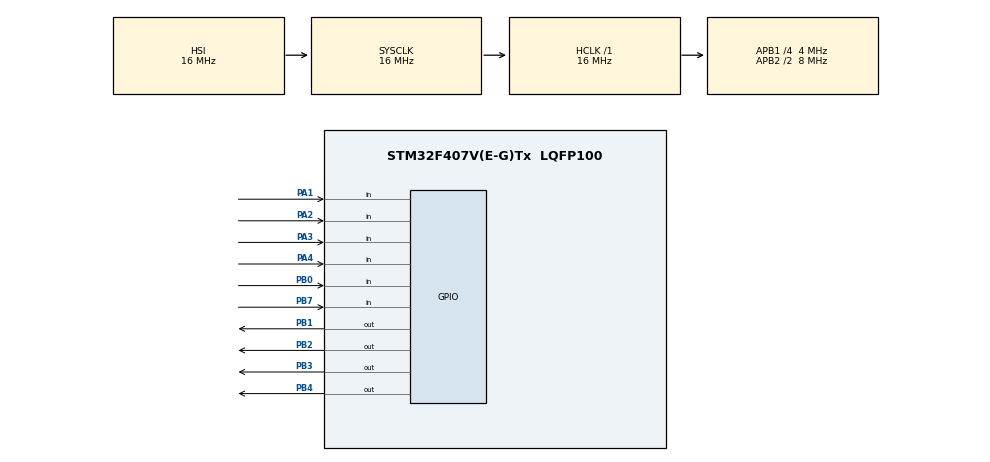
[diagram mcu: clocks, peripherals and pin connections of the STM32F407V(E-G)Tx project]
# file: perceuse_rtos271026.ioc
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FREERTOS.Tasks01=Arret_Urgence,2,128,vArret_Urgence_Task,Default,NULL,Dynamic,NULL,NULL;Descente,0,128,vDescente_Task,Default,NULL,Dynamic,NULL,NULL;Montee,0,128,vMontee_Task,Default,NULL,Dynamic,NULL,NULL
FREERTOS.configUSE_NEWLIB_REENTRANT=1
Mcu.Family=STM32F4
Mcu.Name=STM32F407V(E-G)Tx
Mcu.Package=LQFP100
NVIC.PriorityGroup=NVIC_PRIORITYGROUP_4
NVIC.TIM6_DAC_IRQn=true\:15\:0\:false\:false\:true\:false\:false\:true\:true
NVIC.TimeBase=TIM6_DAC_IRQn
NVIC.TimeBaseIP=TIM6
PA1.GPIO_PuPd=GPIO_PULLDOWN
PA1.Signal=GPIO_Input
PA13.Mode=Serial_Wire
PA13.Signal=SYS_JTMS-SWDIO
PA14.Mode=Serial_Wire
PA14.Signal=SYS_JTCK-SWCLK
PA2.GPIO_PuPd=GPIO_PULLDOWN
PA2.Signal=GPIO_Input
PA3.GPIO_PuPd=GPIO_PULLDOWN
PA3.Signal=GPIO_Input
PA4.GPIO_PuPd=GPIO_PULLDOWN
PA4.Signal=GPIO_Input
PB0.GPIO_PuPd=GPIO_PULLDOWN
PB0.Signal=GPIO_Input
PB1.Signal=GPIO_Output
PB2.Signal=GPIO_Output
PB3.Signal=GPIO_Output
PB4.Signal=GPIO_Output
PB7.GPIO_PuPd=GPIO_PULLDOWN
PB7.Signal=GPIO_Input
ProjectManager.HeapSize=0x200
ProjectManager.StackSize=0x400
ProjectManager.TargetToolchain=STM32CubeIDE
RCC.48MHZClocksFreq_Value=96000000
RCC.AHBFreq_Value=16000000
RCC.APB1CLKDivider=RCC_HCLK_DIV4
RCC.APB1Freq_Value=4000000
RCC.APB1TimFreq_Value=8000000
RCC.APB2CLKDivider=RCC_HCLK_DIV2
RCC.APB2Freq_Value=8000000
RCC.APB2TimFreq_Value=16000000
RCC.CortexFreq_Value=16000000
RCC.HCLKFreq_Value=16000000
RCC.HSE_VALUE=8000000
RCC.HSI_VALUE=16000000
RCC.LSE_VALUE=32768
RCC.PLLM=8
RCC.PLLN=336
RCC.PLLQ=7
RCC.SYSCLKFreq_VALUE=16000000
RCC.VCOOutputFreq_Value=672000000
VP_FREERTOS_VS_CMSIS_V1.Mode=CMSIS_V1
VP_SYS_VS_tim6.Mode=TIM6
board=STM32F407G-DISC1

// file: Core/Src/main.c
/* USER CODE BEGIN Header */
/**
  ******************************************************************************
  * @file           : main.c
  * @brief          : Main program body
  ******************************************************************************
  * @attention
  *
  * Copyright (c) 2026 STMicroelectronics.
  * All rights reserved.
  *
  * This software is licensed under terms that can be found in the LICENSE file
  * in the root directory of this software component.
  * If no LICENSE file comes with this software, it is provided AS-IS.
  *
  ******************************************************************************
  */
/* USER CODE END Header */
#include "main.h"
#include "cmsis_os.h"

osThreadId Arret_UrgenceHandle;
osThreadId DescenteHandle;
osThreadId MonteeHandle;
/* USER CODE BEGIN PV */
volatile uint8_t Urg_Flag = 0;
/* USER CODE END PV */

void SystemClock_Config(void);
static void MX_GPIO_Init(void);
void vArret_Urgence_Task(void const * argument);
void vDescente_Task(void const * argument);
void vMontee_Task(void const * argument);

int main(void)
{

  /* MCU Configuration--------------------------------------------------------*/

  /* Reset of all peripherals, Initializes the Flash interface and the Systick. */
  HAL_Init();

  /* Configure the system clock */
  SystemClock_Config();

  /* Initialize all configured peripherals */
  MX_GPIO_Init();

  /* Create the thread(s) */
  /* definition and creation of Arret_Urgence */
  osThreadDef(Arret_Urgence, vArret_Urgence_Task, osPriorityHigh, 0, 128);
  Arret_UrgenceHandle = osThreadCreate(osThread(Arret_Urgence), NULL);

  /* definition and creation of Descente */
  osThreadDef(Descente, vDescente_Task, osPriorityNormal, 0, 128);
  DescenteHandle = osThreadCreate(osThread(Descente), NULL);

  /* definition and creation of Montee */
  osThreadDef(Montee, vMontee_Task, osPriorityNormal, 0, 128);
  MonteeHandle = osThreadCreate(osThread(Montee), NULL);

  /* Start scheduler */
  osKernelStart();

  /* We should never get here as control is now taken by the scheduler */

  /* Infinite loop */
  while (1)
  {

  }
}

void SystemClock_Config(void)
{
  RCC_OscInitTypeDef RCC_OscInitStruct = {0};
  RCC_ClkInitTypeDef RCC_ClkInitStruct = {0};

  /** Configure the main internal regulator output voltage
  */
  __HAL_RCC_PWR_CLK_ENABLE();
  __HAL_PWR_VOLTAGESCALING_CONFIG(PWR_REGULATOR_VOLTAGE_SCALE1);

  /** Initializes the RCC Oscillators according to the specified parameters
  * in the RCC_OscInitTypeDef structure.
  */
  RCC_OscInitStruct.OscillatorType = RCC_OSCILLATORTYPE_HSI;
  RCC_OscInitStruct.HSIState = RCC_HSI_ON;
  RCC_OscInitStruct.HSICalibrationValue = RCC_HSICALIBRATION_DEFAULT;
  RCC_OscInitStruct.PLL.PLLState = RCC_PLL_NONE;
  if (HAL_RCC_OscConfig(&RCC_OscInitStruct) != HAL_OK)
  {
    Error_Handler();
  }

  /** Initializes the CPU, AHB and APB buses clocks
  */
  RCC_ClkInitStruct.ClockType = RCC_CLOCKTYPE_HCLK|RCC_CLOCKTYPE_SYSCLK
                              |RCC_CLOCKTYPE_PCLK1|RCC_CLOCKTYPE_PCLK2;
  RCC_ClkInitStruct.SYSCLKSource = RCC_SYSCLKSOURCE_HSI;
  RCC_ClkInitStruct.AHBCLKDivider = RCC_SYSCLK_DIV1;
  RCC_ClkInitStruct.APB1CLKDivider = RCC_HCLK_DIV4;
  RCC_ClkInitStruct.APB2CLKDivider = RCC_HCLK_DIV2;

  if (HAL_RCC_ClockConfig(&RCC_ClkInitStruct, FLASH_LATENCY_0) != HAL_OK)
  {
    Error_Handler();
  }
}

static void MX_GPIO_Init(void)
{
  GPIO_InitTypeDef GPIO_InitStruct = {0};

  /* GPIO Ports Clock Enable */
  __HAL_RCC_GPIOA_CLK_ENABLE();
  __HAL_RCC_GPIOB_CLK_ENABLE();

  /*Configure GPIO pin Output Level */
  HAL_GPIO_WritePin(GPIOB, GPIO_PIN_1|GPIO_PIN_2|GPIO_PIN_3|GPIO_PIN_4, GPIO_PIN_RESET);

  /*Configure GPIO pins : PA1 PA2 PA3 PA4 */
  GPIO_InitStruct.Pin = GPIO_PIN_1|GPIO_PIN_2|GPIO_PIN_3|GPIO_PIN_4;
  GPIO_InitStruct.Mode = GPIO_MODE_INPUT;
  GPIO_InitStruct.Pull = GPIO_PULLDOWN;
  HAL_GPIO_Init(GPIOA, &GPIO_InitStruct);

  /*Configure GPIO pins : PB0 PB7 */
  GPIO_InitStruct.Pin = GPIO_PIN_0|GPIO_PIN_7;
  GPIO_InitStruct.Mode = GPIO_MODE_INPUT;
  GPIO_InitStruct.Pull = GPIO_PULLDOWN;
  HAL_GPIO_Init(GPIOB, &GPIO_InitStruct);

  /*Configure GPIO pins : PB1 PB2 PB3 PB4 */
  GPIO_InitStruct.Pin = GPIO_PIN_1|GPIO_PIN_2|GPIO_PIN_3|GPIO_PIN_4;
  GPIO_InitStruct.Mode = GPIO_MODE_OUTPUT_PP;
  GPIO_InitStruct.Pull = GPIO_NOPULL;
  GPIO_InitStruct.Speed = GPIO_SPEED_FREQ_LOW;
  HAL_GPIO_Init(GPIOB, &GPIO_InitStruct);

}

void vArret_Urgence_Task(void const * argument)
{
	/* USER CODE BEGIN vArret_Urgence_Task */
  for(;;)
  {
    if (HAL_GPIO_ReadPin(GPIOB, GPIO_PIN_0) == GPIO_PIN_SET)
    {
      Urg_Flag = 1;
      HAL_GPIO_WritePin(GPIOB, GPIO_PIN_1, GPIO_PIN_RESET);  // Rotation OFF
      HAL_GPIO_WritePin(GPIOB, GPIO_PIN_2, GPIO_PIN_RESET);  // Descente OFF
      HAL_GPIO_WritePin(GPIOB, GPIO_PIN_3, GPIO_PIN_SET);    // Montée ON
      HAL_GPIO_WritePin(GPIOB, GPIO_PIN_4, GPIO_PIN_SET);    // Fault LED ON

      while (HAL_GPIO_ReadPin(GPIOA, GPIO_PIN_3) == GPIO_PIN_RESET)
      {
        osDelay(1);
      }
      HAL_GPIO_WritePin(GPIOB, GPIO_PIN_3, GPIO_PIN_RESET);  // Montée OFF

      while (HAL_GPIO_ReadPin(GPIOB, GPIO_PIN_7) == GPIO_PIN_RESET)
      {
        osDelay(1);
      }

      HAL_GPIO_WritePin(GPIOB, GPIO_PIN_4, GPIO_PIN_RESET);  // Fault LED OFF
      Urg_Flag = 0;
    }
    osDelay(5);
  }
  /* USER CODE END vArret_Urgence_Task */
}

void vDescente_Task(void const * argument)
{
  /* USER CODE BEGIN vDescente_Task */
  /* Infinite loop */
  for(;;)
  {
	  if (Urg_Flag==0 && HAL_GPIO_ReadPin(GPIOA, GPIO_PIN_2) == GPIO_PIN_SET)
	  {
		  HAL_GPIO_WritePin(GPIOB, GPIO_PIN_1, GPIO_PIN_SET);   // Rotation ON
		  HAL_GPIO_WritePin(GPIOB, GPIO_PIN_2, GPIO_PIN_SET);   // Descente ON
while (HAL_GPIO_ReadPin(GPIOA, GPIO_PIN_4) == GPIO_PIN_RESET && Urg_Flag == 0){
	osDelay(1);
}
		  HAL_GPIO_WritePin(GPIOB, GPIO_PIN_1, GPIO_PIN_RESET);
		  HAL_GPIO_WritePin(GPIOB, GPIO_PIN_2, GPIO_PIN_RESET);
	  }
    osDelay(10);
  }
  /* USER CODE END vDescente_Task */
}

void vMontee_Task(void const * argument)
{
	 /* USER CODE BEGIN vMontee_Task */
  for(;;)
  {
    // Start only if there is no fault AND the Montée button (PA1) is pressed
    if (Urg_Flag == 0 && HAL_GPIO_ReadPin(GPIOA, GPIO_PIN_1) == GPIO_PIN_SET)
    {
      HAL_GPIO_WritePin(GPIOB, GPIO_PIN_1, GPIO_PIN_SET);   // Rotation ON
      HAL_GPIO_WritePin(GPIOB, GPIO_PIN_3, GPIO_PIN_SET);   // Montée ON

      // Wait for the top sensor (PA3), but give up if an emergency happens
      while (HAL_GPIO_ReadPin(GPIOA, GPIO_PIN_3) == GPIO_PIN_RESET && Urg_Flag == 0)
      {
        osDelay(1);   // let the other tasks work
      }
      HAL_GPIO_WritePin(GPIOB, GPIO_PIN_1, GPIO_PIN_RESET); // Rotation OFF
      // Stop only if no emergency took over
      taskENTER_CRITICAL();
      if (Urg_Flag == 0)
      {
        HAL_GPIO_WritePin(GPIOB, GPIO_PIN_3, GPIO_PIN_RESET);  // Montée OFF
      }
      taskEXIT_CRITICAL();
    }
    osDelay(10);   // check the button every 10 ms
  }
  /* USER CODE END vMontee_Task */
}

void HAL_TIM_PeriodElapsedCallback(TIM_HandleTypeDef *htim)
{
  if (htim->Instance == TIM6) {
    HAL_IncTick();
  }
}

void Error_Handler(void)
{
  __disable_irq();
  while (1)
  {
  }
}
